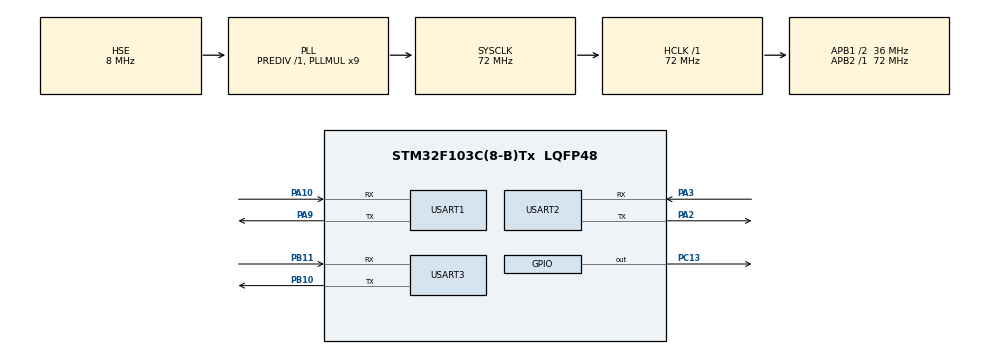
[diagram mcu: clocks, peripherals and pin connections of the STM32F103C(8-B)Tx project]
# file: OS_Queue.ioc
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Dma.Request0=USART1_RX
Dma.Request1=USART2_RX
Dma.USART1_RX.0.Direction=DMA_PERIPH_TO_MEMORY
Dma.USART1_RX.0.Instance=DMA1_Channel5
Dma.USART1_RX.0.MemDataAlignment=DMA_MDATAALIGN_BYTE
Dma.USART1_RX.0.MemInc=DMA_MINC_ENABLE
Dma.USART1_RX.0.Mode=DMA_NORMAL
Dma.USART1_RX.0.PeriphDataAlignment=DMA_PDATAALIGN_BYTE
Dma.USART1_RX.0.PeriphInc=DMA_PINC_DISABLE
Dma.USART1_RX.0.Priority=DMA_PRIORITY_LOW
Dma.USART2_RX.1.Direction=DMA_PERIPH_TO_MEMORY
Dma.USART2_RX.1.Instance=DMA1_Channel6
Dma.USART2_RX.1.MemDataAlignment=DMA_MDATAALIGN_BYTE
Dma.USART2_RX.1.MemInc=DMA_MINC_ENABLE
Dma.USART2_RX.1.Mode=DMA_NORMAL
Dma.USART2_RX.1.PeriphDataAlignment=DMA_PDATAALIGN_BYTE
Dma.USART2_RX.1.PeriphInc=DMA_PINC_DISABLE
Dma.USART2_RX.1.Priority=DMA_PRIORITY_LOW
FREERTOS.BinarySemaphores01=myBinarySem01,Dynamic,NULL;myBinarySem02,Dynamic,NULL
FREERTOS.Queues01=myQueue01,10,uint16_t,0,Dynamic,NULL,NULL
FREERTOS.Tasks01=defaultTask,0,128,StartDefaultTask,Default,NULL,Dynamic,NULL,NULL;myTask02,0,128,StartTask02,Default,NULL,Dynamic,NULL,NULL;myTask03,0,128,StartTask03,Default,NULL,Dynamic,NULL,NULL;myTask04,-1,128,StartTask04,Default,NULL,Dynamic,NULL,NULL
FREERTOS.configUSE_NEWLIB_REENTRANT=1
Mcu.Family=STM32F1
Mcu.Name=STM32F103C(8-B)Tx
Mcu.Package=LQFP48
NVIC.DMA1_Channel5_IRQn=true\:5\:0\:false\:false\:true\:true\:false\:true\:true
NVIC.DMA1_Channel6_IRQn=true\:5\:0\:false\:false\:true\:true\:false\:true\:true
NVIC.PriorityGroup=NVIC_PRIORITYGROUP_4
PA10.Mode=Asynchronous
PA10.Signal=USART1_RX
PA2.Mode=Asynchronous
PA2.Signal=USART2_TX
PA3.Mode=Asynchronous
PA3.Signal=USART2_RX
PA9.Mode=Asynchronous
PA9.Signal=USART1_TX
PB10.Mode=Asynchronous
PB10.Signal=USART3_TX
PB11.Mode=Asynchronous
PB11.Signal=USART3_RX
PC13-TAMPER-RTC.Signal=GPIO_Output
PD0-OSC_IN.Mode=HSE-External-Oscillator
PD0-OSC_IN.Signal=RCC_OSC_IN
PD1-OSC_OUT.Mode=HSE-External-Oscillator
PD1-OSC_OUT.Signal=RCC_OSC_OUT
ProjectManager.HeapSize=0x200
ProjectManager.StackSize=0x400
ProjectManager.TargetToolchain=STM32CubeIDE
RCC.AHBFreq_Value=72000000
RCC.APB1CLKDivider=RCC_HCLK_DIV2
RCC.APB1Freq_Value=36000000
RCC.APB1TimFreq_Value=72000000
RCC.APB2Freq_Value=72000000
RCC.APB2TimFreq_Value=72000000
RCC.HCLKFreq_Value=72000000
RCC.PLLMUL=RCC_PLL_MUL9
RCC.PLLSourceVirtual=RCC_PLLSOURCE_HSE
RCC.SYSCLKFreq_VALUE=72000000
RCC.SYSCLKSource=RCC_SYSCLKSOURCE_PLLCLK
RCC.USBFreq_Value=72000000
USART1.VirtualMode=VM_ASYNC
USART2.VirtualMode=VM_ASYNC
USART3.VirtualMode=VM_ASYNC
VP_FREERTOS_VS_CMSIS_V1.Mode=CMSIS_V1
board=custom

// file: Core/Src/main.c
/* USER CODE BEGIN Header */
/**
 ******************************************************************************
 * @file           : main.c
 * @brief          : Main program body
 ******************************************************************************
 * @attention
 *
 * Copyright (c) 2023 STMicroelectronics.
 * All rights reserved.
 *
 * This software is licensed under terms that can be found in the LICENSE file
 * in the root directory of this software component.
 * If no LICENSE file comes with this software, it is provided AS-IS.
 *
 ******************************************************************************
 */
/* USER CODE END Header */
#include "main.h"
#include "cmsis_os.h"

/* USER CODE BEGIN Includes */
#include "stdbool.h"
/* USER CODE END Includes */

/* USER CODE BEGIN PTD */
uint8_t dataRecei_1[50] = {0};
uint8_t dataRecei_2[50] = {0};
typedef enum
{
    OVERFLOW = 0,
    WAIT,
    TRANSMIT
} state_t;
state_t state = TRANSMIT;
/* USER CODE END PTD */

UART_HandleTypeDef huart1;
UART_HandleTypeDef huart2;
UART_HandleTypeDef huart3;
DMA_HandleTypeDef hdma_usart1_rx;
DMA_HandleTypeDef hdma_usart2_rx;

// osThreadId defaultTaskHandle;
// osThreadId myTask02Handle;
// osThreadId myTask03Handle;
// osThreadId myTask04Handle;
QueueHandle_t myQueue01Handle;
osSemaphoreId myBinarySem01Handle;
osSemaphoreId myBinarySem02Handle;
/* USER CODE BEGIN PV */
TaskHandle_t sender1handler;
TaskHandle_t sender2handler;
TaskHandle_t receiverhandler;
/* USER CODE END PV */

void SystemClock_Config(void);
static void MX_GPIO_Init(void);
static void MX_DMA_Init(void);
static void MX_USART1_UART_Init(void);
static void MX_USART2_UART_Init(void);
static void MX_USART3_UART_Init(void);
void Receiver(void const *argument);
void Sender1(void const *argument);
void Sender2(void const *argument);
void StartTask04(void const *argument);

int main(void)
{

    /* MCU Configuration--------------------------------------------------------*/

    /* Reset of all peripherals, Initializes the Flash interface and the Systick. */
    HAL_Init();

    /* Configure the system clock */
    SystemClock_Config();

    /* Initialize all configured peripherals */
    MX_GPIO_Init();
    MX_DMA_Init();
    MX_USART1_UART_Init();
    MX_USART2_UART_Init();
    MX_USART3_UART_Init();

    /* Create the semaphores(s) */
    /* definition and creation of myBinarySem01 */
    osSemaphoreDef(myBinarySem01);
    myBinarySem01Handle = osSemaphoreCreate(osSemaphore(myBinarySem01), 1);

    /* definition and creation of myBinarySem02 */
    osSemaphoreDef(myBinarySem02);
    myBinarySem02Handle = osSemaphoreCreate(osSemaphore(myBinarySem02), 1);

    /* Create the queue(s) */
    /* definition and creation of myQueue01 */
    //  osMessageQDef(myQueue01, 10, uint16_t);
    //  myQueue01Handle = osMessageCreate(osMessageQ(myQueue01), NULL);

    /* Create the thread(s) */
    /* definition and creation of defaultTask */
    //  osThreadDef(defaultTask, StartDefaultTask, osPriorityNormal, 0, 128);
    //  defaultTaskHandle = osThreadCreate(osThread(defaultTask), NULL);
    //
    //  /* definition and creation of myTask02 */
    //  osThreadDef(myTask02, Sender1, osPriorityNormal, 0, 128);
    //  myTask02Handle = osThreadCreate(osThread(myTask02), NULL);
    //
    //  /* definition and creation of myTask03 */
    //  osThreadDef(myTask03, Sender2, osPriorityNormal, 0, 128);
    //  myTask03Handle = osThreadCreate(osThread(myTask03), NULL);

    /* definition and creation of myTask04 */
    //  osThreadDef(myTask04, StartTask04, osPriorityBelowNormal, 0, 128);
    //  myTask04Handle = osThreadCreate(osThread(myTask04), NULL);

    /* USER CODE BEGIN RTOS_THREADS */
    /* add threads, ... */
    xTaskCreate((void *)Sender1, "sender1", 128, NULL, osPriorityNormal, &sender1handler);
    xTaskCreate((void *)Sender2, "sender2", 128, NULL, osPriorityNormal, &sender1handler);
    xTaskCreate((void *)Receiver, "Receiver", 128, NULL, osPriorityBelowNormal, &receiverhandler);

    myQueue01Handle = xQueueCreate(30, sizeof(dataRecei_1));

    HAL_UARTEx_ReceiveToIdle_DMA(&huart1, dataRecei_1, sizeof(dataRecei_1));
    __HAL_DMA_DISABLE_IT(&hdma_usart1_rx, DMA_IT_HT);

    HAL_UARTEx_ReceiveToIdle_DMA(&huart2, dataRecei_2, sizeof(dataRecei_2));
    __HAL_DMA_DISABLE_IT(&hdma_usart2_rx, DMA_IT_HT);
    xSemaphoreTake(myBinarySem01Handle, 1000);
    xSemaphoreTake(myBinarySem02Handle, 1000);
    /* USER CODE END RTOS_THREADS */

    /* Start scheduler */
    osKernelStart();
    /* We should never get here as control is now taken by the scheduler */
    /* Infinite loop */
    while (1)
    {

    }
}

void SystemClock_Config(void)
{
    RCC_OscInitTypeDef RCC_OscInitStruct = {0};
    RCC_ClkInitTypeDef RCC_ClkInitStruct = {0};

    /** Initializes the RCC Oscillators according to the specified parameters
     * in the RCC_OscInitTypeDef structure.
     */
    RCC_OscInitStruct.OscillatorType = RCC_OSCILLATORTYPE_HSE;
    RCC_OscInitStruct.HSEState = RCC_HSE_ON;
    RCC_OscInitStruct.HSEPredivValue = RCC_HSE_PREDIV_DIV1;
    RCC_OscInitStruct.HSIState = RCC_HSI_ON;
    RCC_OscInitStruct.PLL.PLLState = RCC_PLL_ON;
    RCC_OscInitStruct.PLL.PLLSource = RCC_PLLSOURCE_HSE;
    RCC_OscInitStruct.PLL.PLLMUL = RCC_PLL_MUL9;
    if (HAL_RCC_OscConfig(&RCC_OscInitStruct) != HAL_OK)
    {
        Error_Handler();
    }

    /** Initializes the CPU, AHB and APB buses clocks
     */
    RCC_ClkInitStruct.ClockType = RCC_CLOCKTYPE_HCLK | RCC_CLOCKTYPE_SYSCLK | RCC_CLOCKTYPE_PCLK1 | RCC_CLOCKTYPE_PCLK2;
    RCC_ClkInitStruct.SYSCLKSource = RCC_SYSCLKSOURCE_PLLCLK;
    RCC_ClkInitStruct.AHBCLKDivider = RCC_SYSCLK_DIV1;
    RCC_ClkInitStruct.APB1CLKDivider = RCC_HCLK_DIV2;
    RCC_ClkInitStruct.APB2CLKDivider = RCC_HCLK_DIV1;

    if (HAL_RCC_ClockConfig(&RCC_ClkInitStruct, FLASH_LATENCY_2) != HAL_OK)
    {
        Error_Handler();
    }
}

static void MX_USART1_UART_Init(void)
{

    huart1.Instance = USART1;
    huart1.Init.BaudRate = 115200;
    huart1.Init.WordLength = UART_WORDLENGTH_8B;
    huart1.Init.StopBits = UART_STOPBITS_1;
    huart1.Init.Parity = UART_PARITY_NONE;
    huart1.Init.Mode = UART_MODE_TX_RX;
    huart1.Init.HwFlowCtl = UART_HWCONTROL_NONE;
    huart1.Init.OverSampling = UART_OVERSAMPLING_16;
    if (HAL_UART_Init(&huart1) != HAL_OK)
    {
        Error_Handler();
    }
}

static void MX_USART2_UART_Init(void)
{

    huart2.Instance = USART2;
    huart2.Init.BaudRate = 115200;
    huart2.Init.WordLength = UART_WORDLENGTH_8B;
    huart2.Init.StopBits = UART_STOPBITS_1;
    huart2.Init.Parity = UART_PARITY_NONE;
    huart2.Init.Mode = UART_MODE_TX_RX;
    huart2.Init.HwFlowCtl = UART_HWCONTROL_NONE;
    huart2.Init.OverSampling = UART_OVERSAMPLING_16;
    if (HAL_UART_Init(&huart2) != HAL_OK)
    {
        Error_Handler();
    }
}

static void MX_USART3_UART_Init(void)
{

    huart3.Instance = USART3;
    huart3.Init.BaudRate = 1200;
    huart3.Init.WordLength = UART_WORDLENGTH_8B;
    huart3.Init.StopBits = UART_STOPBITS_1;
    huart3.Init.Parity = UART_PARITY_NONE;
    huart3.Init.Mode = UART_MODE_TX_RX;
    huart3.Init.HwFlowCtl = UART_HWCONTROL_NONE;
    huart3.Init.OverSampling = UART_OVERSAMPLING_16;
    if (HAL_UART_Init(&huart3) != HAL_OK)
    {
        Error_Handler();
    }
}

static void MX_DMA_Init(void)
{

    /* DMA controller clock enable */
    __HAL_RCC_DMA1_CLK_ENABLE();

    /* DMA interrupt init */
    /* DMA1_Channel5_IRQn interrupt configuration */
    HAL_NVIC_SetPriority(DMA1_Channel5_IRQn, 5, 0);
    HAL_NVIC_EnableIRQ(DMA1_Channel5_IRQn);
    /* DMA1_Channel6_IRQn interrupt configuration */
    HAL_NVIC_SetPriority(DMA1_Channel6_IRQn, 5, 0);
    HAL_NVIC_EnableIRQ(DMA1_Channel6_IRQn);
}

static void MX_GPIO_Init(void)
{
    GPIO_InitTypeDef GPIO_InitStruct = {0};

    /* GPIO Ports Clock Enable */
    __HAL_RCC_GPIOC_CLK_ENABLE();
    __HAL_RCC_GPIOD_CLK_ENABLE();
    __HAL_RCC_GPIOA_CLK_ENABLE();
    __HAL_RCC_GPIOB_CLK_ENABLE();

    /*Configure GPIO pin Output Level */
    HAL_GPIO_WritePin(GPIOC, GPIO_PIN_13, GPIO_PIN_RESET);

    /*Configure GPIO pin : PC13 */
    GPIO_InitStruct.Pin = GPIO_PIN_13;
    GPIO_InitStruct.Mode = GPIO_MODE_OUTPUT_PP;
    GPIO_InitStruct.Pull = GPIO_NOPULL;
    GPIO_InitStruct.Speed = GPIO_SPEED_FREQ_LOW;
    HAL_GPIO_Init(GPIOC, &GPIO_InitStruct);

}

/* USER CODE BEGIN 4 */
void HAL_UARTEx_RxEventCallback(UART_HandleTypeDef *huart, uint16_t Size)
{
    portBASE_TYPE xHigherPriorityTaskWoken = pdFALSE;
    if (huart->Instance == USART1)
        xSemaphoreGiveFromISR(myBinarySem01Handle, &xHigherPriorityTaskWoken);
    else if (huart->Instance == USART2)
        xSemaphoreGiveFromISR(myBinarySem02Handle, &xHigherPriorityTaskWoken);
    portEND_SWITCHING_ISR(xHigherPriorityTaskWoken);
}
/* USER CODE END 4 */

void Receiver(void const *argument)
{
    /* USER CODE BEGIN 5 */
    uint32_t timeStart;
    uint8_t count;
    uint8_t data[50];
    /* Infinite loop */
    for (;;)
    {
        switch (state)
        {
        case OVERFLOW: // Queue get overflow
            timeStart = HAL_GetTick();
            vTaskSuspend(sender1handler);
            vTaskSuspend(sender2handler);
            state = WAIT;
            break;
        case WAIT: // wait 20s to send data out
            if (HAL_GetTick() - timeStart > 1000)
            {
                HAL_GPIO_TogglePin(GPIOC, GPIO_PIN_13);
                timeStart = HAL_GetTick();
                count++;
                if (count == 20)
                    state = TRANSMIT;
            }
            break;
        case TRANSMIT: // Runing
            count = 0;
            vTaskResume(sender1handler);
            vTaskResume(sender2handler);
            HAL_UARTEx_ReceiveToIdle_DMA(&huart1, dataRecei_1, sizeof(dataRecei_1));
            __HAL_DMA_DISABLE_IT(&hdma_usart1_rx, DMA_IT_HT);

            HAL_UARTEx_ReceiveToIdle_DMA(&huart2, dataRecei_2, sizeof(dataRecei_2));
            __HAL_DMA_DISABLE_IT(&hdma_usart2_rx, DMA_IT_HT);
            break;
        }

        if (xQueueReceive(myQueue01Handle, data, 0) == pdTRUE)
            HAL_UART_Transmit(&huart3, data, 50, 1000);

        osDelay(1);
    }
    /* USER CODE END 5 */
}

/* USER CODE BEGIN Header_StartTask02 */
/**
 * @brief The function implements the Sender1 Task.
 * @param argument: Not used
 * @retval None
 */
/* USER CODE END Header_StartTask02 */
void Sender1(void const *argument)
{
    /* USER CODE BEGIN StartTask02 */
    /* Infinite loop */
    for (;;)
    {
        if (xSemaphoreTake(myBinarySem01Handle, 2000) == pdTRUE)
        {
            if (uxQueueSpacesAvailable(myQueue01Handle) != 0)
            {
                __HAL_DMA_DISABLE(&hdma_usart1_rx);
                xQueueSend(myQueue01Handle, dataRecei_1, 0);
                HAL_UARTEx_ReceiveToIdle_DMA(&huart1, dataRecei_1, sizeof(dataRecei_1));
                __HAL_DMA_DISABLE_IT(&hdma_usart1_rx, DMA_IT_HT);
            }
            else
            {
                __HAL_DMA_DISABLE(&hdma_usart1_rx);
                state = OVERFLOW;
            }
        }
        else
        {
        }

        osDelay(10);
    }
    /* USER CODE END StartTask02 */
}

/* USER CODE BEGIN Header_StartTask03 */
/**
 * @brief The function implements the Sender2 Task.
 * @param argument: Not used
 * @retval None
 */
/* USER CODE END Header_StartTask03 */
void Sender2(void const *argument)
{
    /* USER CODE BEGIN StartTask03 */
    /* Infinite loop */
    for (;;)
    {
        if (xSemaphoreTake(myBinarySem02Handle, 2000) == pdTRUE)
        {
            if (uxQueueSpacesAvailable(myQueue01Handle) != 0)
            {
                __HAL_DMA_DISABLE(&hdma_usart2_rx);
                xQueueSend(myQueue01Handle, dataRecei_2, 0);
                HAL_UARTEx_ReceiveToIdle_DMA(&huart2, dataRecei_2, sizeof(dataRecei_2));
                __HAL_DMA_DISABLE_IT(&hdma_usart2_rx, DMA_IT_HT);
            }
            else
            {
                __HAL_DMA_DISABLE(&hdma_usart2_rx);
                state = OVERFLOW;
            }
        }
        else
        {
        }
        osDelay(10);
    }
    /* USER CODE END StartTask03 */
}

// void StartTask04(void const * argument)
//{
//   /* USER CODE BEGIN StartTask04 */
//	uint8_t data[50];
//   /* Infinite loop */
//   for(;;)
//   {
//	if(xQueueReceive(myQueue01Handle, data, 2000) == pdTRUE)
//	{
//		HAL_UART_Transmit(&huart3, data, 50, 1000);
//	}
//	osDelay(10);
//   }
//   /* USER CODE END StartTask04 */
// }

void Error_Handler(void)
{
    __disable_irq();
    while (1)
    {
    }
}
